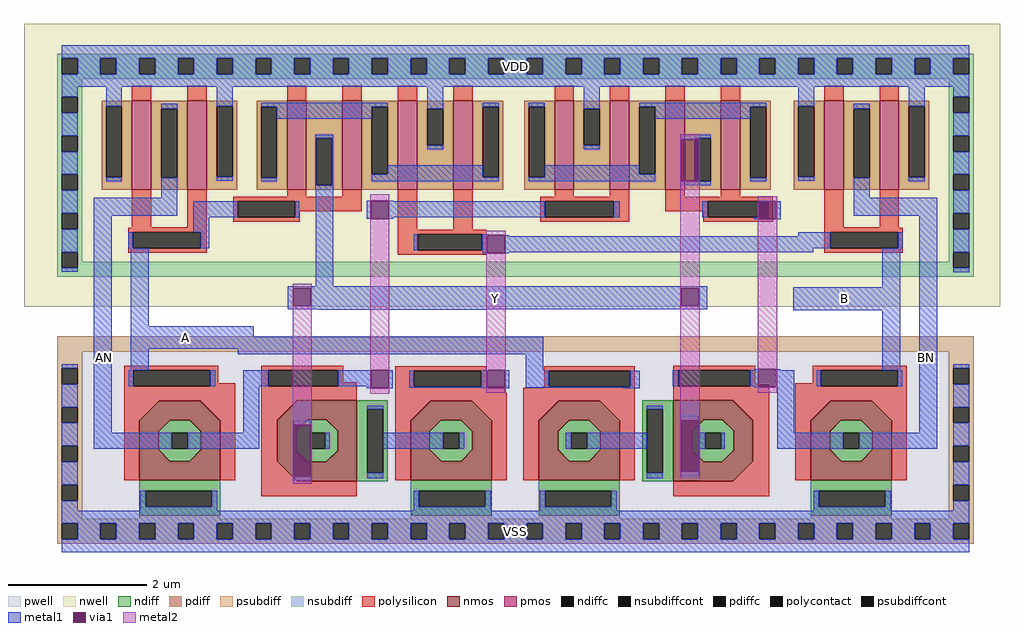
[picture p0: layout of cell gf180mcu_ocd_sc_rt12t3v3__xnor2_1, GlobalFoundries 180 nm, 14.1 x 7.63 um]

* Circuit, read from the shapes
.subckt gf180mcu_ocd_sc_rt12t3v3__xnor2_1 B A VDD VSS Y
XM1 AN A VSS VSS nfet_03v3 w=1.785u l=0.5329u
XM2 Y AN n1 VSS nfet_03v3 w=1.785u l=0.5267u
XM3 n1 B VSS VSS nfet_03v3 w=1.775u l=0.5429u
XM4 n2 A VSS VSS nfet_03v3 w=1.785u l=0.5371u
XM5 Y BN n2 VSS nfet_03v3 w=1.785u l=0.5421u
XM6 BN B VSS VSS nfet_03v3 w=1.785u l=0.5307u
XM7 AN A VDD VDD pfet_03v3 w=1.285u l=0.28u m=2
XM8 Y A n3 VDD pfet_03v3 w=1.285u l=0.28u m=2
XM9 VDD B n3 VDD pfet_03v3 w=1.285u l=0.28u m=2
XM10 VDD AN n4 VDD pfet_03v3 w=1.285u l=0.28u m=2
XM11 Y BN n4 VDD pfet_03v3 w=1.285u l=0.28u m=2
XM12 BN B VDD VDD pfet_03v3 w=1.285u l=0.28u m=2
.ends

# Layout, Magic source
magic
tech gf180mcuD
magscale 1 10
<< nwell >>
rect -132 649 2688 1466
<< pwell >>
rect -36 -36 2612 563
<< nmos >>
tri 201 319 259 377 se
rect 259 321 377 377
rect 259 319 287 321
tri 287 319 289 321 nw
tri 347 319 349 321 ne
rect 349 319 377 321
tri 377 319 435 377 sw
rect 201 203 257 319
tri 257 289 287 319 nw
tri 349 289 379 319 ne
tri 257 203 289 235 sw
tri 347 203 379 235 se
rect 379 203 435 319
rect 201 147 435 203
tri 600 321 658 379 se
rect 658 323 830 379
rect 600 293 658 321
tri 658 293 688 323 nw
rect 600 231 656 293
tri 656 291 658 293 nw
tri 742 291 774 323 ne
tri 656 231 658 233 sw
rect 600 203 658 231
tri 600 145 658 203 ne
tri 658 201 688 231 sw
tri 742 201 774 233 se
rect 774 201 830 323
rect 658 145 830 201
tri 985 319 1043 377 se
rect 1043 321 1161 377
rect 1043 319 1071 321
tri 1071 319 1073 321 nw
tri 1131 319 1133 321 ne
rect 1133 319 1161 321
tri 1161 319 1219 377 sw
rect 985 203 1041 319
tri 1041 289 1071 319 nw
tri 1133 289 1163 319 ne
tri 1041 203 1073 235 sw
tri 1131 203 1163 235 se
rect 1163 203 1219 319
rect 985 147 1219 203
tri 1357 321 1413 377 se
rect 1413 321 1531 377
tri 1355 319 1357 321 se
rect 1357 319 1411 321
rect 1355 203 1411 319
tri 1411 289 1443 321 nw
tri 1501 319 1503 321 ne
rect 1503 319 1531 321
tri 1531 319 1589 377 sw
tri 1503 289 1533 319 ne
tri 1411 203 1443 235 sw
tri 1501 203 1533 235 se
rect 1533 203 1589 319
rect 1355 147 1589 203
rect 1744 323 1916 379
rect 1744 201 1800 323
tri 1800 291 1832 323 nw
tri 1886 293 1916 323 ne
tri 1916 321 1974 379 sw
rect 1916 293 1974 321
tri 1916 291 1918 293 ne
tri 1800 201 1832 233 sw
tri 1916 231 1918 233 se
rect 1918 231 1974 293
tri 1886 201 1916 231 se
rect 1916 203 1974 231
rect 1744 145 1916 201
tri 1916 145 1974 203 nw
tri 2141 319 2199 377 se
rect 2199 321 2317 377
rect 2199 319 2227 321
tri 2227 319 2229 321 nw
tri 2287 319 2289 321 ne
rect 2289 319 2317 321
tri 2317 319 2375 377 sw
rect 2141 203 2197 319
tri 2197 289 2227 319 nw
tri 2289 289 2319 319 ne
tri 2197 203 2229 235 sw
tri 2287 203 2319 235 se
rect 2319 203 2375 319
rect 2141 147 2375 203
<< pmos >>
rect 180 987 236 1244
rect 340 987 396 1244
rect 628 987 684 1244
rect 788 987 844 1244
rect 948 987 1004 1244
rect 1108 987 1164 1244
rect 1401 987 1457 1244
rect 1561 987 1617 1244
rect 1721 987 1777 1244
rect 1881 987 1937 1244
rect 2180 987 2236 1244
rect 2340 987 2396 1244
<< ndiff >>
tri 287 319 289 321 se
rect 289 319 347 321
tri 347 319 349 321 sw
tri 257 289 287 319 se
rect 287 289 349 319
tri 349 289 379 319 sw
rect 257 285 379 289
rect 257 239 295 285
rect 341 239 379 285
rect 257 235 379 239
tri 257 203 289 235 ne
rect 289 203 347 235
tri 347 203 379 235 nw
rect 201 117 435 147
rect 201 71 220 117
rect 411 71 435 117
rect 830 352 919 379
tri 658 293 688 323 se
rect 688 293 742 323
tri 656 291 658 293 se
rect 658 291 742 293
tri 742 291 774 323 sw
rect 656 285 774 291
rect 656 239 692 285
rect 738 239 774 285
rect 656 233 774 239
tri 656 231 658 233 ne
rect 658 231 742 233
tri 658 201 688 231 ne
rect 688 201 742 231
tri 742 201 774 233 nw
rect 830 169 860 352
rect 906 169 919 352
rect 830 145 919 169
tri 1071 319 1073 321 se
rect 1073 319 1131 321
tri 1131 319 1133 321 sw
tri 1041 289 1071 319 se
rect 1071 289 1133 319
tri 1133 289 1163 319 sw
rect 1041 285 1163 289
rect 1041 239 1079 285
rect 1125 239 1163 285
rect 1041 235 1163 239
tri 1041 203 1073 235 ne
rect 1073 203 1131 235
tri 1131 203 1163 235 nw
tri 1411 289 1443 321 se
rect 1443 319 1501 321
tri 1501 319 1503 321 sw
rect 1443 289 1503 319
tri 1503 289 1533 319 sw
rect 1411 285 1533 289
rect 1411 239 1449 285
rect 1495 239 1533 285
rect 1411 235 1533 239
tri 1411 203 1443 235 ne
rect 1443 203 1501 235
tri 1501 203 1533 235 nw
rect 1655 352 1744 379
rect 1655 169 1668 352
rect 1714 169 1744 352
tri 1800 291 1832 323 se
rect 1832 293 1886 323
tri 1886 293 1916 323 sw
rect 1832 291 1916 293
tri 1916 291 1918 293 sw
rect 1800 285 1918 291
rect 1800 239 1836 285
rect 1882 239 1918 285
rect 1800 233 1918 239
tri 1800 201 1832 233 ne
rect 1832 231 1916 233
tri 1916 231 1918 233 nw
rect 1832 201 1886 231
tri 1886 201 1916 231 nw
rect 985 117 1219 147
rect 201 47 435 71
rect 985 71 1009 117
rect 1200 71 1219 117
rect 985 47 1219 71
rect 1355 117 1589 147
rect 1655 145 1744 169
tri 2227 319 2229 321 se
rect 2229 319 2287 321
tri 2287 319 2289 321 sw
tri 2197 289 2227 319 se
rect 2227 289 2289 319
tri 2289 289 2319 319 sw
rect 2197 285 2319 289
rect 2197 239 2235 285
rect 2281 239 2319 285
rect 2197 235 2319 239
tri 2197 203 2229 235 ne
rect 2229 203 2287 235
tri 2287 203 2319 235 nw
rect 1355 71 1374 117
rect 1565 71 1589 117
rect 2141 117 2375 147
rect 1355 47 1589 71
rect 2141 71 2165 117
rect 2356 71 2375 117
rect 2141 47 2375 71
<< pdiff >>
rect 92 1228 180 1244
rect 92 1023 105 1228
rect 151 1023 180 1228
rect 92 987 180 1023
rect 236 1221 340 1244
rect 236 1022 265 1221
rect 311 1022 340 1221
rect 236 987 340 1022
rect 396 1228 484 1244
rect 396 1024 425 1228
rect 471 1024 484 1228
rect 396 987 484 1024
rect 540 1227 628 1244
rect 540 1022 553 1227
rect 599 1022 628 1227
rect 540 987 628 1022
rect 684 1135 788 1244
rect 684 1000 713 1135
rect 759 1000 788 1135
rect 684 987 788 1000
rect 844 1227 948 1244
rect 844 1032 873 1227
rect 919 1032 948 1227
rect 844 987 948 1032
rect 1004 1221 1108 1244
rect 1004 1115 1033 1221
rect 1079 1115 1108 1221
rect 1004 987 1108 1115
rect 1164 1227 1252 1244
rect 1164 1023 1193 1227
rect 1239 1023 1252 1227
rect 1164 987 1252 1023
rect 1313 1227 1401 1244
rect 1313 1023 1326 1227
rect 1372 1023 1401 1227
rect 1313 987 1401 1023
rect 1457 1221 1561 1244
rect 1457 1115 1486 1221
rect 1532 1115 1561 1221
rect 1457 987 1561 1115
rect 1617 1227 1721 1244
rect 1617 1032 1646 1227
rect 1692 1032 1721 1227
rect 1617 987 1721 1032
rect 1777 1135 1881 1244
rect 1777 1012 1806 1135
rect 1852 1012 1881 1135
rect 1777 987 1881 1012
rect 1937 1227 2025 1244
rect 1937 1022 1966 1227
rect 2012 1022 2025 1227
rect 1937 987 2025 1022
rect 2092 1228 2180 1244
rect 2092 1024 2105 1228
rect 2151 1024 2180 1228
rect 2092 987 2180 1024
rect 2236 1221 2340 1244
rect 2236 1022 2265 1221
rect 2311 1022 2340 1221
rect 2236 987 2340 1022
rect 2396 1228 2484 1244
rect 2396 1023 2425 1228
rect 2471 1023 2484 1228
rect 2396 987 2484 1023
<< ndiffc >>
rect 295 239 341 285
rect 220 71 411 117
rect 692 239 738 285
rect 860 169 906 352
rect 1079 239 1125 285
rect 1449 239 1495 285
rect 1668 169 1714 352
rect 1836 239 1882 285
rect 1009 71 1200 117
rect 2235 239 2281 285
rect 1374 71 1565 117
rect 2165 71 2356 117
<< pdiffc >>
rect 105 1023 151 1228
rect 265 1022 311 1221
rect 425 1024 471 1228
rect 553 1022 599 1227
rect 713 1000 759 1135
rect 873 1032 919 1227
rect 1033 1115 1079 1221
rect 1193 1023 1239 1227
rect 1326 1023 1372 1227
rect 1486 1115 1532 1221
rect 1646 1032 1692 1227
rect 1806 1012 1852 1135
rect 1966 1022 2012 1227
rect 2105 1024 2151 1228
rect 2265 1022 2311 1221
rect 2425 1023 2471 1228
<< psubdiff >>
rect -36 519 2612 563
rect -36 471 36 519
rect -36 425 -23 471
rect 23 425 36 471
rect -36 359 36 425
rect -36 313 -23 359
rect 23 313 36 359
rect -36 247 36 313
rect -36 201 -23 247
rect 23 201 36 247
rect -36 135 36 201
rect -36 89 -23 135
rect 23 89 36 135
rect -36 36 36 89
rect 201 36 435 47
rect 985 36 1219 47
rect 2540 471 2612 519
rect 2540 425 2553 471
rect 2599 425 2612 471
rect 2540 359 2612 425
rect 2540 313 2553 359
rect 2599 313 2612 359
rect 2540 247 2612 313
rect 2540 201 2553 247
rect 2599 201 2612 247
rect 1355 36 1589 47
rect 2141 36 2375 47
rect 2540 135 2612 201
rect 2540 89 2553 135
rect 2599 89 2612 135
rect 2540 36 2612 89
rect -36 23 2612 36
rect -36 -23 -23 23
rect 23 -23 89 23
rect 135 -23 201 23
rect 247 -23 313 23
rect 359 -23 425 23
rect 471 -23 537 23
rect 583 -23 649 23
rect 695 -23 761 23
rect 807 -23 873 23
rect 919 -23 985 23
rect 1031 -23 1097 23
rect 1143 -23 1209 23
rect 1255 -23 1321 23
rect 1367 -23 1433 23
rect 1479 -23 1545 23
rect 1591 -23 1657 23
rect 1703 -23 1769 23
rect 1815 -23 1881 23
rect 1927 -23 1993 23
rect 2039 -23 2105 23
rect 2151 -23 2217 23
rect 2263 -23 2329 23
rect 2375 -23 2441 23
rect 2487 -23 2553 23
rect 2599 -23 2612 23
rect -36 -36 2612 -23
<< nsubdiff >>
rect -36 1367 2612 1380
rect -36 1321 -23 1367
rect 23 1321 89 1367
rect 135 1321 201 1367
rect 247 1321 313 1367
rect 359 1321 425 1367
rect 471 1321 537 1367
rect 583 1321 649 1367
rect 695 1321 761 1367
rect 807 1321 873 1367
rect 919 1321 985 1367
rect 1031 1321 1097 1367
rect 1143 1321 1209 1367
rect 1255 1321 1321 1367
rect 1367 1321 1433 1367
rect 1479 1321 1545 1367
rect 1591 1321 1657 1367
rect 1703 1321 1769 1367
rect 1815 1321 1881 1367
rect 1927 1321 1993 1367
rect 2039 1321 2105 1367
rect 2151 1321 2217 1367
rect 2263 1321 2329 1367
rect 2375 1321 2441 1367
rect 2487 1321 2553 1367
rect 2599 1321 2612 1367
rect -36 1308 2612 1321
rect -36 1255 36 1308
rect -36 1209 -23 1255
rect 23 1209 36 1255
rect 2540 1255 2612 1308
rect -36 1143 36 1209
rect -36 1097 -23 1143
rect 23 1097 36 1143
rect -36 1031 36 1097
rect -36 985 -23 1031
rect 23 985 36 1031
rect 2540 1209 2553 1255
rect 2599 1209 2612 1255
rect 2540 1143 2612 1209
rect 2540 1097 2553 1143
rect 2599 1097 2612 1143
rect 2540 1031 2612 1097
rect -36 919 36 985
rect -36 873 -23 919
rect 23 873 36 919
rect -36 807 36 873
rect -36 761 -23 807
rect 23 779 36 807
rect 2540 985 2553 1031
rect 2599 985 2612 1031
rect 2540 919 2612 985
rect 2540 873 2553 919
rect 2599 873 2612 919
rect 2540 807 2612 873
rect 2540 779 2553 807
rect 23 761 2553 779
rect 2599 761 2612 807
rect -36 735 2612 761
<< psubdiffcont >>
rect -23 425 23 471
rect -23 313 23 359
rect -23 201 23 247
rect -23 89 23 135
rect 2553 425 2599 471
rect 2553 313 2599 359
rect 2553 201 2599 247
rect 2553 89 2599 135
rect -23 -23 23 23
rect 89 -23 135 23
rect 201 -23 247 23
rect 313 -23 359 23
rect 425 -23 471 23
rect 537 -23 583 23
rect 649 -23 695 23
rect 761 -23 807 23
rect 873 -23 919 23
rect 985 -23 1031 23
rect 1097 -23 1143 23
rect 1209 -23 1255 23
rect 1321 -23 1367 23
rect 1433 -23 1479 23
rect 1545 -23 1591 23
rect 1657 -23 1703 23
rect 1769 -23 1815 23
rect 1881 -23 1927 23
rect 1993 -23 2039 23
rect 2105 -23 2151 23
rect 2217 -23 2263 23
rect 2329 -23 2375 23
rect 2441 -23 2487 23
rect 2553 -23 2599 23
<< nsubdiffcont >>
rect -23 1321 23 1367
rect 89 1321 135 1367
rect 201 1321 247 1367
rect 313 1321 359 1367
rect 425 1321 471 1367
rect 537 1321 583 1367
rect 649 1321 695 1367
rect 761 1321 807 1367
rect 873 1321 919 1367
rect 985 1321 1031 1367
rect 1097 1321 1143 1367
rect 1209 1321 1255 1367
rect 1321 1321 1367 1367
rect 1433 1321 1479 1367
rect 1545 1321 1591 1367
rect 1657 1321 1703 1367
rect 1769 1321 1815 1367
rect 1881 1321 1927 1367
rect 1993 1321 2039 1367
rect 2105 1321 2151 1367
rect 2217 1321 2263 1367
rect 2329 1321 2375 1367
rect 2441 1321 2487 1367
rect 2553 1321 2599 1367
rect -23 1209 23 1255
rect -23 1097 23 1143
rect -23 985 23 1031
rect 2553 1209 2599 1255
rect 2553 1097 2599 1143
rect -23 873 23 919
rect -23 761 23 807
rect 2553 985 2599 1031
rect 2553 873 2599 919
rect 2553 761 2599 807
<< polysilicon >>
rect 180 1244 236 1288
rect 340 1244 396 1288
rect 628 1244 684 1288
rect 788 1244 844 1288
rect 948 1244 1004 1288
rect 1108 1244 1164 1288
rect 1401 1244 1457 1288
rect 1561 1244 1617 1288
rect 1721 1244 1777 1288
rect 1881 1244 1937 1288
rect 2180 1244 2236 1288
rect 2340 1244 2396 1288
rect 180 878 236 987
rect 340 878 396 987
rect 628 967 684 987
rect 788 967 844 987
rect 473 954 844 967
rect 473 908 486 954
rect 652 925 844 954
rect 652 908 665 925
rect 473 895 665 908
rect 180 877 396 878
rect 169 864 396 877
rect 169 818 182 864
rect 378 818 396 864
rect 169 805 396 818
rect 948 871 1004 987
rect 1108 871 1164 987
rect 1401 967 1457 987
rect 1561 967 1617 987
rect 1360 954 1617 967
rect 1360 908 1373 954
rect 1572 908 1617 954
rect 1721 967 1777 987
rect 1881 967 1937 987
rect 1721 954 2032 967
rect 1721 925 1843 954
rect 1360 895 1617 908
rect 1830 908 1843 925
rect 2019 908 2032 954
rect 1830 895 2032 908
rect 2180 878 2236 987
rect 2340 878 2396 987
rect 2180 877 2396 878
rect 948 858 1205 871
rect 948 812 1005 858
rect 1192 812 1205 858
rect 948 799 1205 812
rect 2180 864 2407 877
rect 2180 818 2198 864
rect 2394 818 2407 864
rect 2180 805 2407 818
rect 157 465 429 478
rect 157 419 184 465
rect 406 428 429 465
rect 553 465 790 478
rect 406 419 479 428
rect 157 377 479 419
rect 157 147 201 377
tri 201 319 259 377 nw
tri 377 319 435 377 ne
rect 435 147 479 377
rect 553 419 574 465
rect 776 430 790 465
rect 941 464 1203 477
rect 776 419 830 430
rect 553 379 830 419
rect 941 418 994 464
rect 1189 419 1203 464
rect 1371 464 1633 477
rect 1189 418 1257 419
rect 941 400 1257 418
rect 1371 418 1384 464
rect 1620 418 1633 464
rect 1371 415 1633 418
rect 553 145 600 379
tri 600 321 658 379 nw
tri 600 145 658 203 sw
rect 941 377 1263 400
rect 941 147 985 377
tri 985 319 1043 377 nw
tri 1161 319 1219 377 ne
rect 1219 147 1263 377
rect 1311 377 1633 415
rect 1744 465 1981 478
rect 1744 419 1758 465
rect 1967 423 1981 465
rect 2147 465 2419 478
rect 2147 428 2170 465
rect 1967 419 2021 423
rect 1744 379 2021 419
rect 1311 321 1357 377
tri 1357 321 1413 377 nw
rect 1311 147 1355 321
tri 1355 319 1357 321 nw
tri 1531 319 1589 377 ne
rect 1589 147 1633 377
tri 1916 321 1974 379 ne
rect 553 101 830 145
tri 1916 145 1974 203 se
rect 1974 145 2021 379
rect 2097 419 2170 428
rect 2392 419 2419 465
rect 2097 377 2419 419
rect 2097 147 2141 377
tri 2141 319 2199 377 nw
tri 2317 319 2375 377 ne
rect 2375 147 2419 377
rect 1744 101 2021 145
<< polycontact >>
rect 486 908 652 954
rect 182 818 378 864
rect 1373 908 1572 954
rect 1843 908 2019 954
rect 1005 812 1192 858
rect 2198 818 2394 864
rect 184 419 406 465
rect 574 419 776 465
rect 994 418 1189 464
rect 1384 418 1620 464
rect 1758 419 1967 465
rect 2170 419 2392 465
<< metal1 >>
rect -23 1367 2599 1404
rect 23 1321 89 1367
rect 135 1321 201 1367
rect 247 1321 313 1367
rect 359 1321 425 1367
rect 471 1321 537 1367
rect 583 1321 649 1367
rect 695 1321 761 1367
rect 807 1321 873 1367
rect 919 1321 985 1367
rect 1031 1321 1097 1367
rect 1143 1321 1209 1367
rect 1255 1321 1321 1367
rect 1367 1321 1433 1367
rect 1479 1321 1545 1367
rect 1591 1321 1657 1367
rect 1703 1321 1769 1367
rect 1815 1321 1881 1367
rect 1927 1321 1993 1367
rect 2039 1321 2105 1367
rect 2151 1321 2217 1367
rect 2263 1321 2329 1367
rect 2375 1321 2441 1367
rect 2487 1321 2553 1367
rect -23 1284 2599 1321
rect -23 1255 23 1284
rect -23 1143 23 1209
rect -23 1031 23 1097
rect 105 1228 151 1284
rect 105 1012 151 1023
rect 265 1221 311 1236
rect -23 919 23 985
rect 265 964 311 1022
rect 425 1228 471 1284
rect 425 1013 471 1024
rect 553 1227 919 1238
rect 599 1192 873 1227
rect 553 1011 599 1022
rect 710 1135 762 1146
rect 710 1000 713 1135
rect 759 1000 762 1135
rect 1033 1221 1079 1284
rect 1033 1104 1079 1115
rect 1193 1227 1239 1238
rect 919 1032 1193 1058
rect 873 1023 1193 1032
rect 873 1012 1239 1023
rect 1326 1227 1372 1238
rect 1486 1221 1532 1284
rect 1486 1104 1532 1115
rect 1646 1227 2012 1238
rect 1372 1032 1646 1058
rect 1692 1192 1966 1227
rect 1372 1023 1692 1032
rect 1326 1012 1692 1023
rect 1766 1135 1852 1146
rect 1766 1133 1806 1135
rect 1766 1000 1852 1012
rect 1966 1011 2012 1022
rect 2105 1228 2151 1284
rect 2105 1013 2151 1024
rect 2265 1221 2311 1236
rect 710 989 762 1000
rect -23 807 23 873
rect -23 750 23 761
rect 69 912 311 964
rect -23 471 23 482
rect -23 359 23 425
rect -23 247 23 313
rect 69 285 121 912
rect 357 908 486 954
rect 652 908 663 954
rect 357 864 403 908
rect 169 818 182 864
rect 378 818 403 864
rect 176 593 228 818
rect 711 708 762 989
rect 2265 964 2311 1022
rect 2425 1228 2471 1284
rect 2425 1012 2471 1023
rect 2553 1255 2599 1284
rect 2553 1143 2599 1209
rect 2553 1031 2599 1097
rect 859 903 870 955
rect 922 954 935 955
rect 922 908 1373 954
rect 1572 908 1590 954
rect 1827 908 1843 954
rect 922 903 935 908
rect 1978 902 1990 908
rect 2042 902 2054 954
rect 2265 912 2507 964
rect 994 812 1005 858
rect 1192 856 1214 858
rect 1192 812 1206 856
rect 1194 804 1206 812
rect 1258 853 1270 856
rect 2105 853 2198 864
rect 1258 818 2198 853
rect 2394 818 2407 864
rect 1258 807 2149 818
rect 1258 804 1270 807
rect 630 703 1842 708
rect 2348 705 2400 818
rect 630 651 646 703
rect 698 651 1766 703
rect 1818 651 1842 703
rect 630 641 1842 651
rect 718 640 1206 641
rect 2090 639 2400 705
rect 176 562 532 593
rect 176 527 1369 562
rect 176 465 228 527
rect 486 511 1369 527
rect 170 419 184 465
rect 406 419 421 465
rect 502 419 574 465
rect 776 419 870 465
rect 502 285 548 419
rect 858 413 870 419
rect 922 413 934 465
rect 1194 464 1206 465
rect 981 418 994 464
rect 1189 418 1206 464
rect 981 415 1206 418
rect 1194 413 1206 415
rect 1258 413 1270 465
rect 1318 464 1369 511
rect 1978 465 1990 468
rect 1318 418 1384 464
rect 1620 418 1647 464
rect 1742 419 1758 465
rect 1967 419 1990 465
rect 1318 415 1647 418
rect 1978 416 1990 419
rect 2042 466 2054 468
rect 2042 416 2093 466
rect 2348 465 2400 639
rect 2158 419 2170 465
rect 2392 419 2406 465
rect 1601 414 1647 415
rect 860 352 906 363
rect 69 239 295 285
rect 341 239 548 285
rect 646 308 698 320
rect 738 239 752 285
rect -23 135 23 201
rect 646 146 698 158
rect 1668 352 1714 363
rect 906 239 1079 285
rect 1125 239 1140 285
rect 1434 239 1449 285
rect 1495 239 1668 285
rect 860 154 906 169
rect 1668 154 1714 169
rect 1766 321 1818 334
rect 2044 285 2093 416
rect 2455 285 2507 912
rect 2553 919 2599 985
rect 2553 807 2599 873
rect 2553 749 2599 761
rect 1818 239 1836 285
rect 1882 239 1893 285
rect 2044 239 2235 285
rect 2281 239 2507 285
rect 2553 471 2599 482
rect 2553 359 2599 425
rect 2553 247 2599 313
rect 1766 160 1818 172
rect 2553 135 2599 201
rect -23 60 23 89
rect 204 71 220 117
rect 411 71 426 117
rect 204 60 426 71
rect 994 71 1009 117
rect 1200 71 1216 117
rect 994 60 1216 71
rect 1358 71 1374 117
rect 1565 71 1580 117
rect 1358 60 1580 71
rect 2150 71 2165 117
rect 2356 71 2372 117
rect 2150 60 2372 71
rect 2553 60 2599 89
rect -23 23 2599 60
rect 23 -23 89 23
rect 135 -23 201 23
rect 247 -23 313 23
rect 359 -23 425 23
rect 471 -23 537 23
rect 583 -23 649 23
rect 695 -23 761 23
rect 807 -23 873 23
rect 919 -23 985 23
rect 1031 -23 1097 23
rect 1143 -23 1209 23
rect 1255 -23 1321 23
rect 1367 -23 1433 23
rect 1479 -23 1545 23
rect 1591 -23 1657 23
rect 1703 -23 1769 23
rect 1815 -23 1881 23
rect 1927 -23 1993 23
rect 2039 -23 2105 23
rect 2151 -23 2217 23
rect 2263 -23 2329 23
rect 2375 -23 2441 23
rect 2487 -23 2553 23
rect -23 -60 2599 -23
<< via1 >>
rect 1766 1012 1806 1133
rect 1806 1012 1818 1133
rect 870 903 922 955
rect 1990 908 2019 954
rect 2019 908 2042 954
rect 1990 902 2042 908
rect 1206 804 1258 856
rect 646 651 698 703
rect 1766 651 1818 703
rect 870 413 922 465
rect 1206 413 1258 465
rect 1990 416 2042 468
rect 646 285 698 308
rect 646 239 692 285
rect 692 239 698 285
rect 646 158 698 239
rect 1766 172 1818 321
<< metal2 >>
rect 1764 1133 1820 1147
rect 1764 1012 1766 1133
rect 1818 1012 1820 1133
rect 868 955 924 974
rect 868 903 870 955
rect 922 903 924 955
rect 644 703 700 715
rect 644 651 646 703
rect 698 651 700 703
rect 644 308 700 651
rect 868 465 924 903
rect 868 413 870 465
rect 922 413 924 465
rect 868 398 924 413
rect 1204 856 1260 868
rect 1204 804 1206 856
rect 1258 804 1260 856
rect 1204 465 1260 804
rect 1204 413 1206 465
rect 1258 413 1260 465
rect 1204 401 1260 413
rect 1764 703 1820 1012
rect 1764 651 1766 703
rect 1818 651 1820 703
rect 644 158 646 308
rect 698 158 700 308
rect 644 138 700 158
rect 1764 321 1820 651
rect 1988 954 2044 968
rect 1988 902 1990 954
rect 2042 902 2044 954
rect 1988 468 2044 902
rect 1988 416 1990 468
rect 2042 416 2044 468
rect 1988 400 2044 416
rect 1764 172 1766 321
rect 1818 172 1820 321
rect 1764 154 1820 172
<< labels >>
flabel metal1 s 0 1284 2576 1404 0 FreeSans 400 180 0 0 VDD
port 7 nsew power bidirectional abutment
flabel metal1 s 0 -60 2576 60 0 FreeSans 400 180 0 0 VSS
port 8 nsew ground bidirectional abutment
flabel metal1 2475 502 2475 502 0 FreeSans 320 90 0 0 BN
flabel metal1 101 502 101 502 0 FreeSans 320 90 0 0 AN
flabel metal1 s 186 527 486 593 0 FreeSans 320 0 0 0 A
port 2 nsew signal input
flabel metal1 s 2090 639 2390 705 0 FreeSans 320 180 0 0 B
port 1 nsew signal input
flabel metal1 718 640 1745 708 0 FreeSans 320 180 0 0 Y
port 9 nsew
<< properties >>
string FIXED_BBOX 0 0 2576 1344
<< end >>
